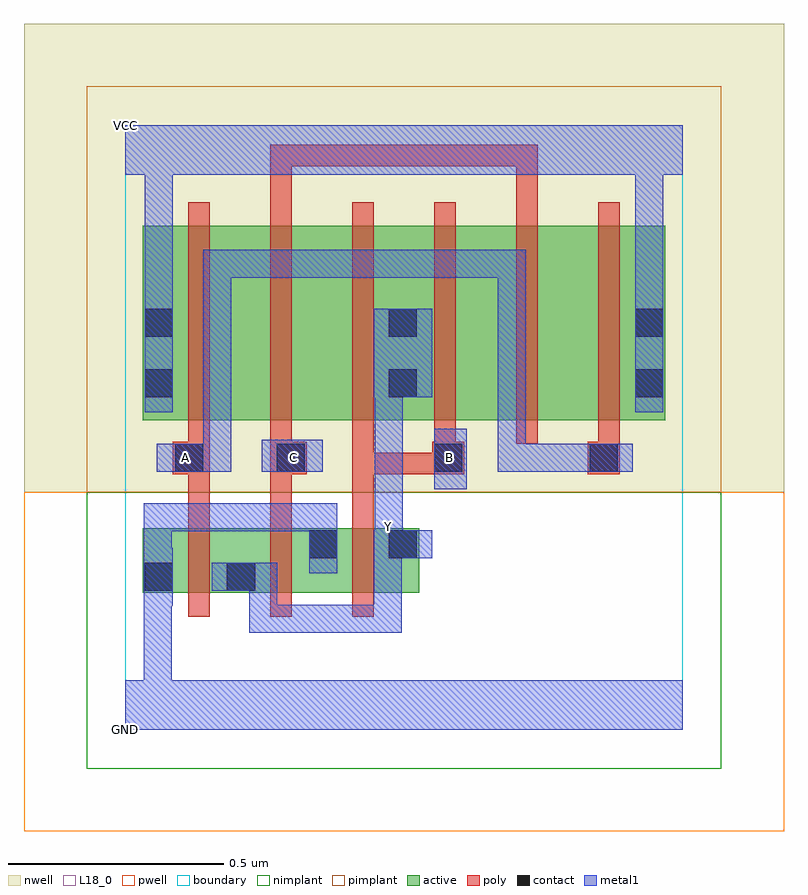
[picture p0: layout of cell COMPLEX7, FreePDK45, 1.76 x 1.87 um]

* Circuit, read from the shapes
.subckt COMPLEX7 A B C GND VCC Y
M1 Y A GND VSUBS nfet w=0.15u l=0.05u
M2 GND C Y VSUBS nfet w=0.15u l=0.05u
M3 Y B GND VSUBS nfet w=0.15u l=0.05u
M4 n1 A VCC n2 pfet w=0.45u l=0.05u
M5 n3 C n1 n2 pfet w=0.45u l=0.05u
M6 Y B n3 n2 pfet w=0.45u l=0.05u
M7 n4 B Y n2 pfet w=0.45u l=0.05u
M8 n5 C n4 n2 pfet w=0.45u l=0.05u
M9 VCC A n5 n2 pfet w=0.45u l=0.05u
.ends

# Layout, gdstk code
import gdstk
lib = gdstk.Library(unit=1e-6, precision=1e-09)
def R(c, l, rs):  # rectangles x0, y0, x1, y1
    for r in rs: c.add(gdstk.rectangle(r[:2], r[2:], *l))
def A(c, l, x, y, w, h, nx, ny, dx, dy):  # array of equal rectangles
    R(c, l, [(x+i*dx, y+j*dy, x+i*dx+w, y+j*dy+h) for i in range(nx) for j in range(ny)])
active = (1, 0)
pwell = (2, 0)
nwell = (3, 0)
nimplant = (4, 0)
pimplant = (5, 0)
poly = (9, 0)
contact = (10, 0)
metal1 = (11, 0)
L18_0 = (18, 0)
boundary = (235, 0)

complex7 = lib.new_cell('COMPLEX7')
R(complex7, active, [(0.04,0.317,0.305,0.467), (0.04,0.317,0.115,0.467), (0.23,0.317,0.495,0.467), (0.23,0.317,0.305,0.452), (0.42,0.317,0.68,0.467), (0.42,0.345,0.495,0.467), (0.605,0.345,0.68,0.467), (0.04,0.717,0.115,1.167), (0.04,0.717,0.265,1.167), (0.265,0.717,0.455,1.167), (0.455,0.717,0.68,1.167), (0.605,0.717,0.835,1.167), (0.605,0.717,0.68,1.055), (0.835,0.717,1.025,1.167), (1.025,0.717,1.25,1.167), (1.175,0.717,1.25,1.167)])
R(complex7, pwell, [(-0.235,-0.235,1.525,0.55)])
R(complex7, nwell, [(-0.235,0.55,1.525,1.635)])
R(complex7, nimplant, [(-0.09,-0.09,1.38,0.55)])
R(complex7, pimplant, [(-0.09,0.55,1.38,1.49)])
A(complex7, poly, 0.145, 0.262, 0.05, 0.26, 3, 1, 0.19, 0)
A(complex7, poly, 0.145, 0.472, 0.05, 0.17, 3, 1, 0.19, 0)
A(complex7, poly, 0.335, 0.617, 0.05, 0.095, 3, 1, 0.38, 0)
A(complex7, poly, 0.145, 0.662, 0.05, 0.56, 6, 1, 0.19, 0)
R(complex7, poly, [(0.11,0.592,0.195,0.667), (0.335,0.592,0.42,0.667), (0.525,0.592,0.575,0.642), (0.525,0.592,0.76,0.642), (0.525,0.592,0.575,0.712), (0.71,0.592,0.785,0.667), (0.71,0.592,0.76,0.642), (0.71,0.592,0.76,0.642), (1.07,0.592,1.145,0.667), (0.145,0.617,0.195,0.712), (0.335,1.172,0.385,1.355), (0.905,1.172,0.955,1.355), (0.335,1.305,0.385,1.355), (0.335,1.305,0.575,1.355), (0.525,1.305,0.575,1.355), (0.525,1.305,0.575,1.355), (0.525,1.305,0.575,1.355), (0.525,1.305,0.707,1.355), (0.657,1.305,0.707,1.355), (0.657,1.305,0.707,1.355), (0.657,1.305,0.707,1.355), (0.657,1.305,0.955,1.355), (0.905,1.305,0.955,1.355), (0.905,1.305,0.955,1.355), (0.905,1.305,0.955,1.355)])
R(complex7, contact, [(0.045,0.322,0.11,0.387), (0.235,0.322,0.3,0.387), (0.425,0.397,0.49,0.462), (0.61,0.397,0.675,0.462), (0.115,0.597,0.18,0.662), (0.35,0.597,0.415,0.662), (0.715,0.597,0.78,0.662), (1.075,0.597,1.14,0.662), (0.045,0.77,0.11,0.835), (0.61,0.77,0.675,0.835), (1.18,0.77,1.245,0.835), (0.045,0.91,0.11,0.975), (0.61,0.91,0.675,0.975), (1.18,0.91,1.245,0.975)])
R(complex7, metal1, [(0,0,1.29,0.115), (0.042,0.05,0.107,0.352), (0.287,0.225,0.49,0.29), (0.287,0.225,0.352,0.387), (0.425,0.225,0.49,0.29), (0.425,0.225,0.64,0.29), (0.575,0.225,0.64,0.29), (0.575,0.225,0.64,0.29), (0.575,0.225,0.64,0.29), (0.575,0.225,0.64,0.462), (0.042,0.287,0.107,0.352), (0.042,0.287,0.107,0.352), (0.042,0.287,0.107,0.352), (0.042,0.287,0.107,0.352), (0.042,0.287,0.11,0.422), (0.2,0.322,0.335,0.387), (0.27,0.322,0.352,0.387), (0.042,0.357,0.107,0.525), (0.425,0.362,0.49,0.525), (0.575,0.397,0.71,0.462), (0.577,0.397,0.642,0.467), (0.577,0.402,0.642,0.537), (0.042,0.46,0.107,0.525), (0.042,0.46,0.107,0.525), (0.042,0.46,0.107,0.525), (0.042,0.46,0.335,0.525), (0.27,0.46,0.335,0.525), (0.27,0.46,0.49,0.525), (0.425,0.46,0.49,0.525), (0.425,0.46,0.49,0.525), (0.577,0.472,0.642,0.835), (0.715,0.557,0.79,0.697), (0.072,0.597,0.215,0.662), (0.15,0.597,0.245,0.662), (0.18,0.597,0.245,0.662), (0.18,0.597,0.245,1.112), (0.315,0.597,0.457,0.672), (0.862,0.597,0.927,0.662), (0.862,0.597,0.927,0.662), (0.862,0.597,0.927,0.662), (0.862,0.597,1.105,0.662), (0.862,0.597,0.927,1.112), (1.04,0.597,1.105,0.662), (1.04,0.597,1.105,0.662), (1.04,0.597,1.105,0.662), (1.04,0.597,1.105,0.662), (1.04,0.597,1.175,0.662), (0.045,0.735,0.11,1.01), (1.18,0.735,1.245,1.01), (0.575,0.77,0.71,0.975), (0.045,0.945,0.11,1.35), (1.18,0.945,1.245,1.01), (1.18,0.945,1.245,1.01), (1.18,0.945,1.245,1.35), (0.18,1.047,0.245,1.112), (0.18,1.047,0.472,1.112), (0.407,1.047,0.472,1.112), (0.407,1.047,0.472,1.112), (0.407,1.047,0.472,1.112), (0.407,1.047,0.472,1.112), (0.407,1.047,0.472,1.112), (0.407,1.047,0.627,1.112), (0.562,1.047,0.627,1.112), (0.562,1.047,0.627,1.112), (0.562,1.047,0.627,1.112), (0.562,1.047,0.79,1.112), (0.725,1.047,0.79,1.112), (0.725,1.047,0.927,1.112), (0.862,1.047,0.927,1.112), (0,1.285,1.29,1.4), (0.045,1.285,0.11,1.35), (0.045,1.285,0.11,1.35)])
R(complex7, L18_0, [(0,0,1.29,0.115), (0.042,0.05,0.107,0.352), (0.287,0.225,0.352,0.387), (0.287,0.225,0.49,0.29), (0.425,0.225,0.49,0.29), (0.425,0.225,0.64,0.29), (0.575,0.225,0.64,0.29), (0.575,0.225,0.64,0.29), (0.575,0.225,0.64,0.29), (0.575,0.225,0.64,0.462), (0.042,0.287,0.107,0.352), (0.042,0.287,0.107,0.352), (0.042,0.287,0.107,0.352), (0.042,0.287,0.107,0.352), (0.042,0.287,0.11,0.422), (0.2,0.322,0.335,0.387), (0.27,0.322,0.352,0.387), (0.042,0.357,0.107,0.525), (0.425,0.362,0.49,0.525), (0.575,0.397,0.71,0.462), (0.577,0.397,0.642,0.467), (0.577,0.402,0.642,0.537), (0.577,0.437,0.642,0.502), (0.042,0.46,0.107,0.525), (0.042,0.46,0.107,0.525), (0.042,0.46,0.107,0.525), (0.042,0.46,0.335,0.525), (0.27,0.46,0.335,0.525), (0.27,0.46,0.49,0.525), (0.425,0.46,0.49,0.525), (0.425,0.46,0.49,0.525), (0.577,0.472,0.642,0.835), (0.715,0.557,0.79,0.697), (0.072,0.597,0.215,0.662), (0.107,0.597,0.172,0.662), (0.15,0.597,0.245,0.662), (0.18,0.597,0.245,0.662), (0.18,0.597,0.245,1.112), (0.315,0.597,0.457,0.672), (0.357,0.597,0.422,0.662), (0.717,0.597,0.782,0.662), (0.862,0.597,0.927,0.662), (0.862,0.597,0.927,0.662), (0.862,0.597,0.927,0.662), (0.862,0.597,0.927,1.112), (0.862,0.597,1.105,0.662), (1.04,0.597,1.105,0.662), (1.04,0.597,1.105,0.662), (1.04,0.597,1.105,0.662), (1.04,0.597,1.105,0.662), (1.04,0.597,1.175,0.662), (0.045,0.735,0.11,1.01), (1.18,0.735,1.245,1.01), (0.575,0.77,0.71,0.975), (0.045,0.945,0.11,1.35), (1.18,0.945,1.245,1.01), (1.18,0.945,1.245,1.01), (1.18,0.945,1.245,1.35), (0.18,1.047,0.245,1.112), (0.18,1.047,0.472,1.112), (0.407,1.047,0.472,1.112), (0.407,1.047,0.472,1.112), (0.407,1.047,0.472,1.112), (0.407,1.047,0.472,1.112), (0.407,1.047,0.472,1.112), (0.407,1.047,0.627,1.112), (0.562,1.047,0.627,1.112), (0.562,1.047,0.627,1.112), (0.562,1.047,0.627,1.112), (0.562,1.047,0.79,1.112), (0.725,1.047,0.79,1.112), (0.725,1.047,0.927,1.112), (0.862,1.047,0.927,1.112), (0,1.285,1.29,1.4), (0.045,1.285,0.11,1.35), (0.045,1.285,0.11,1.35)])
R(complex7, boundary, [(0,0,1.29,1.4)])
complex7.add(gdstk.Label('A', (0.14,0.63), layer=11, texttype=0))
complex7.add(gdstk.Label('B', (0.75,0.63), layer=11, texttype=0))
complex7.add(gdstk.Label('C', (0.39,0.63), layer=11, texttype=0))
complex7.add(gdstk.Label('Y', (0.61,0.47), layer=11, texttype=0))
complex7.add(gdstk.Label('VCC', (0,1.4), layer=11, texttype=0))
complex7.add(gdstk.Label('GND', (0,0), layer=11, texttype=0))

lib.write_gds('COMPLEX7.gds')
